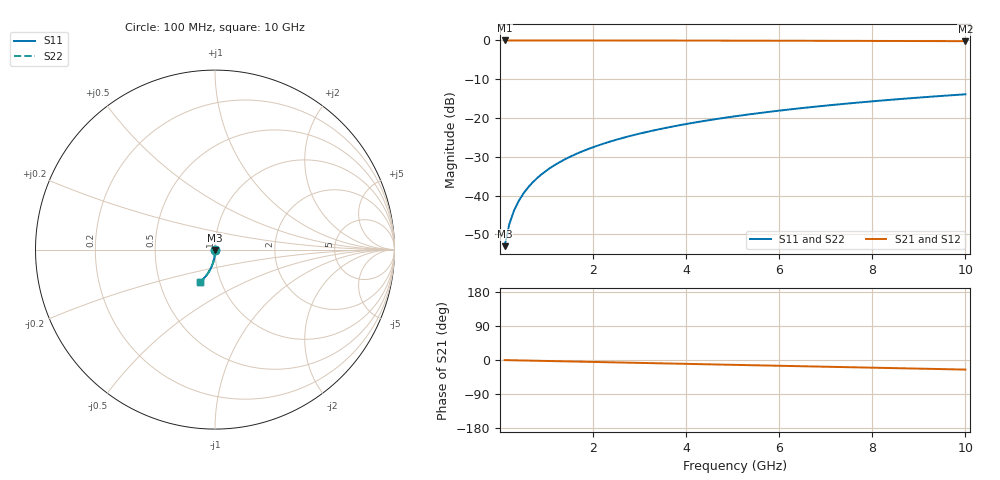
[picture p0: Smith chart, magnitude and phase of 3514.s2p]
# Hz S RI R 50.00
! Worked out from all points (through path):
!   100 points, 100 MHz to 10 GHz, reference 50 ohm
!   highest |S21| = -0.01 dB at 100 MHz (marker M1); lowest = -0.2 dB at 10 GHz (marker M2)
!   group delay of S21, straight-line fit = 7.02 ps
!   lowest |S11| = -53.1 dB at 100 MHz (marker M3), VSWR 1.00, Z = 50.1 - j0.21 ohm
!   |S11| at or under -10 dB: start of sweep to end of sweep
!   |S22| runs from -53.1 to -13.9 dB; largest |S21 - S12| = 0
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1e8  0.000718 -0.0021  0.9993 -0.00444  0.9993 -0.00444  0.000718 -0.0021
2e8  0.000691 -0.0042  0.9992 -0.00887  0.9992 -0.00887  0.000691 -0.0042
3e8  0.000645 -0.0063  0.9991 -0.0133  0.9991 -0.0133  0.000645 -0.0063
4e8  0.00058 -0.00841  0.9991 -0.0177  0.9991 -0.0177  0.00058 -0.00841
5e8  0.000495 -0.0105  0.9989 -0.0222  0.9989 -0.0222  0.000495 -0.0105
6e8  0.000392 -0.0126  0.9988 -0.0266  0.9988 -0.0266  0.000392 -0.0126
7e8  0.00027 -0.0147  0.9986 -0.0311  0.9986 -0.0311  0.00027 -0.0147
8e8  0.000129 -0.0168  0.9985 -0.0355  0.9985 -0.0355  0.000129 -0.0168
9e8  -3.1e-05 -0.0189  0.9982 -0.0399  0.9982 -0.0399  -3.1e-05 -0.0189
1.1e9  -0.000407 -0.0231  0.9978 -0.0488  0.9978 -0.0488  -0.000407 -0.0231
1.4e9  -0.00111 -0.0294  0.9968 -0.0621  0.9968 -0.0621  -0.00111 -0.0294
1.8e9  -0.00231 -0.0377  0.9953 -0.0797  0.9953 -0.0797  -0.00231 -0.0377
2.1e9  -0.0034 -0.0439  0.9939 -0.0929  0.9939 -0.0929  -0.0034 -0.0439
2.5e9  -0.00511 -0.0521  0.9916 -0.1105  0.9916 -0.1105  -0.00511 -0.0521
2.9e9  -0.00711 -0.0603  0.989 -0.1281  0.989 -0.1281  -0.00711 -0.0603
3.4e9  -0.01 -0.0704  0.9852 -0.1498  0.9852 -0.1498  -0.01 -0.0704
4.2e9  -0.0156 -0.0862  0.978 -0.1844  0.978 -0.1844  -0.0156 -0.0862
5.1e9  -0.0232 -0.1035  0.9681 -0.2228  0.9681 -0.2228  -0.0232 -0.1035
5.9e9  -0.031 -0.1183  0.9578 -0.2563  0.9578 -0.2563  -0.031 -0.1183
6.7e9  -0.0399 -0.1325  0.9461 -0.2893  0.9461 -0.2893  -0.0399 -0.1325
8.4e9  -0.0617 -0.1602  0.917 -0.3569  0.917 -0.3569  -0.0617 -0.1602
1e10  -0.0856 -0.1828  0.8847 -0.4173  0.8847 -0.4173  -0.0856 -0.1828
